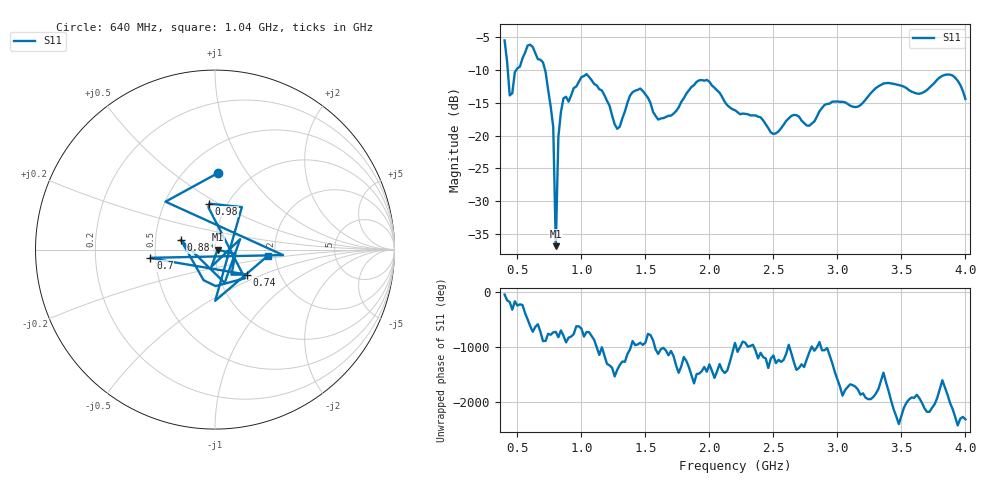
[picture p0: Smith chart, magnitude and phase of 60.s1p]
!Created with skrf (http://scikit-rf.org).
# Hz S RI R 50.0
!freq ReS11 ImS11
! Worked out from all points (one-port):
!   181 points, 400 MHz to 4 GHz, reference 50 ohm
!   lowest |S11| = -36.9 dB at 800 MHz (marker M1), VSWR 1.03, Z = 51.4 - j0.109 ohm
!   |S11| at or under -10 dB: 424.8 MHz to 490.2 MHz (65.38 MHz wide, 14.3 % of centre); 716.6 MHz to end of sweep
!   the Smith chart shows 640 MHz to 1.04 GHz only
!   S11 on the Smith chart (normalised r, x): 640 MHz: 0.71, +0.74; 700 MHz: 0.47, -0.05; 740 MHz: 1.36, -0.40; 880 MHz: 0.68, +0.08; 980 MHz: 0.83, +0.45; 1.04 GHz: 1.82, -0.14
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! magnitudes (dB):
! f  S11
! 400 MHz  -5.5
! 440 MHz  -13.8
! 580 MHz  -6.2
! 640 MHz  -7.4
! 700 MHz  -8.8
! 740 MHz  -13.0
! 780 MHz  -18.7
! 800 MHz  -36.9
! 820 MHz  -20.2
! 860 MHz  -14.3
! 880 MHz  -14.1
! 980 MHz  -11.8
! 1.04 GHz  -10.6
! 1.3 GHz  -18.6
! 1.46 GHz  -12.8
! 1.6 GHz  -17.5
! 1.76 GHz  -15.7
! 1.98 GHz  -11.5
! 2.2 GHz  -16.1
! 2.5 GHz  -19.7
! 2.66 GHz  -16.8
! 2.78 GHz  -18.5
! 2.9 GHz  -15.3
! 3.1 GHz  -15.4
! 3.36 GHz  -12.0
! 3.56 GHz  -13.0
! 3.88 GHz  -10.7
! 4 GHz  -14.4
